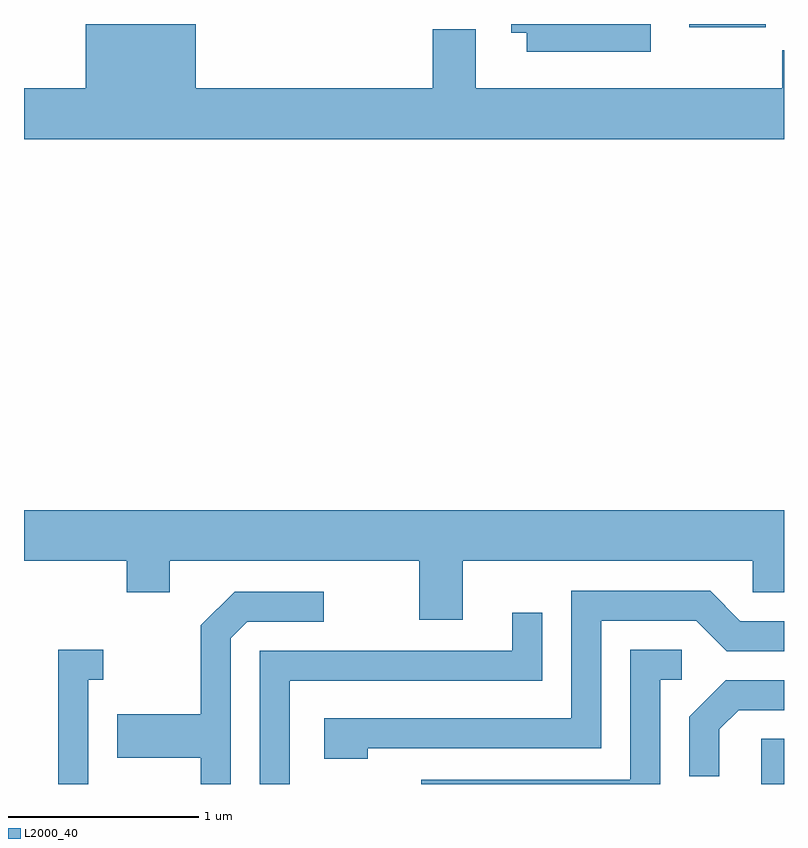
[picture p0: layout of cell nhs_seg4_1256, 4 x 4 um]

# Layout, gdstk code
import gdstk
lib = gdstk.Library(unit=1e-6, precision=1e-09)
def R(c, l, rs):  # rectangles x0, y0, x1, y1
    for r in rs: c.add(gdstk.rectangle(r[:2], r[2:], *l))
def P(c, l, *ps):  # polygons
    for p in ps: c.add(gdstk.Polygon(p, *l))
L2000_40 = (2000, 40)

nhs_seg4_1256 = lib.new_cell('nhs_seg4_1256')
R(nhs_seg4_1256, L2000_40, [(225.491,1317.982,225.611,1318.219), (225.111,1321.966,225.514,1321.982)])
P(nhs_seg4_1256, L2000_40, [(225.611,1321.844),(225.601,1321.844),(225.601,1321.644),(223.989,1321.644),(223.989,1321.954),(223.761,1321.954),(223.761,1321.644),(222.514,1321.644),(222.514,1321.982),(221.936,1321.982),(221.936,1321.644),(221.611,1321.644),(221.611,1321.376),(225.611,1321.376)],
  [(224.909,1321.982),(224.176,1321.982),(224.176,1321.936),(224.256,1321.936),(224.256,1321.836),(224.909,1321.836)],
  [(223.919,1319.156),(225.446,1319.156),(225.446,1318.991),(225.611,1318.991),(225.611,1319.424),(221.611,1319.424),(221.611,1319.156),(222.151,1319.156),(222.151,1318.991),(222.379,1318.991),(222.379,1319.156),(223.691,1319.156),(223.691,1318.846),(223.919,1318.846)],
  [(223.419,1318.171),(224.649,1318.171),(224.649,1318.841),(225.149,1318.841),(225.309,1318.681),(225.611,1318.681),(225.611,1318.839),(225.382,1318.839),(225.222,1318.999),(224.491,1318.999),(224.491,1318.329),(223.191,1318.329),(223.191,1318.116),(223.419,1318.116)],
  [(222.699,1318.749),(222.787,1318.836),(223.188,1318.836),(223.188,1318.994),(222.719,1318.994),(222.541,1318.817),(222.541,1318.349),(222.101,1318.349),(222.101,1318.121),(222.541,1318.121),(222.541,1317.982),(222.699,1317.982)],
  [(223.009,1318.526),(224.339,1318.526),(224.339,1318.883),(224.181,1318.883),(224.181,1318.684),(222.851,1318.684),(222.851,1317.982),(223.009,1317.982)],
  [(224.959,1318.531),(225.073,1318.531),(225.073,1318.689),(224.801,1318.689),(224.801,1318.004),(223.703,1318.004),(223.703,1317.982),(224.959,1317.982)],
  [(221.949,1318.531),(222.028,1318.531),(222.028,1318.689),(221.791,1318.689),(221.791,1317.982),(221.949,1317.982)],
  [(225.269,1318.269),(225.372,1318.371),(225.611,1318.371),(225.611,1318.529),(225.304,1318.529),(225.111,1318.337),(225.111,1318.023),(225.269,1318.023)])

lib.write_gds('nhs_seg4_1256.gds')
